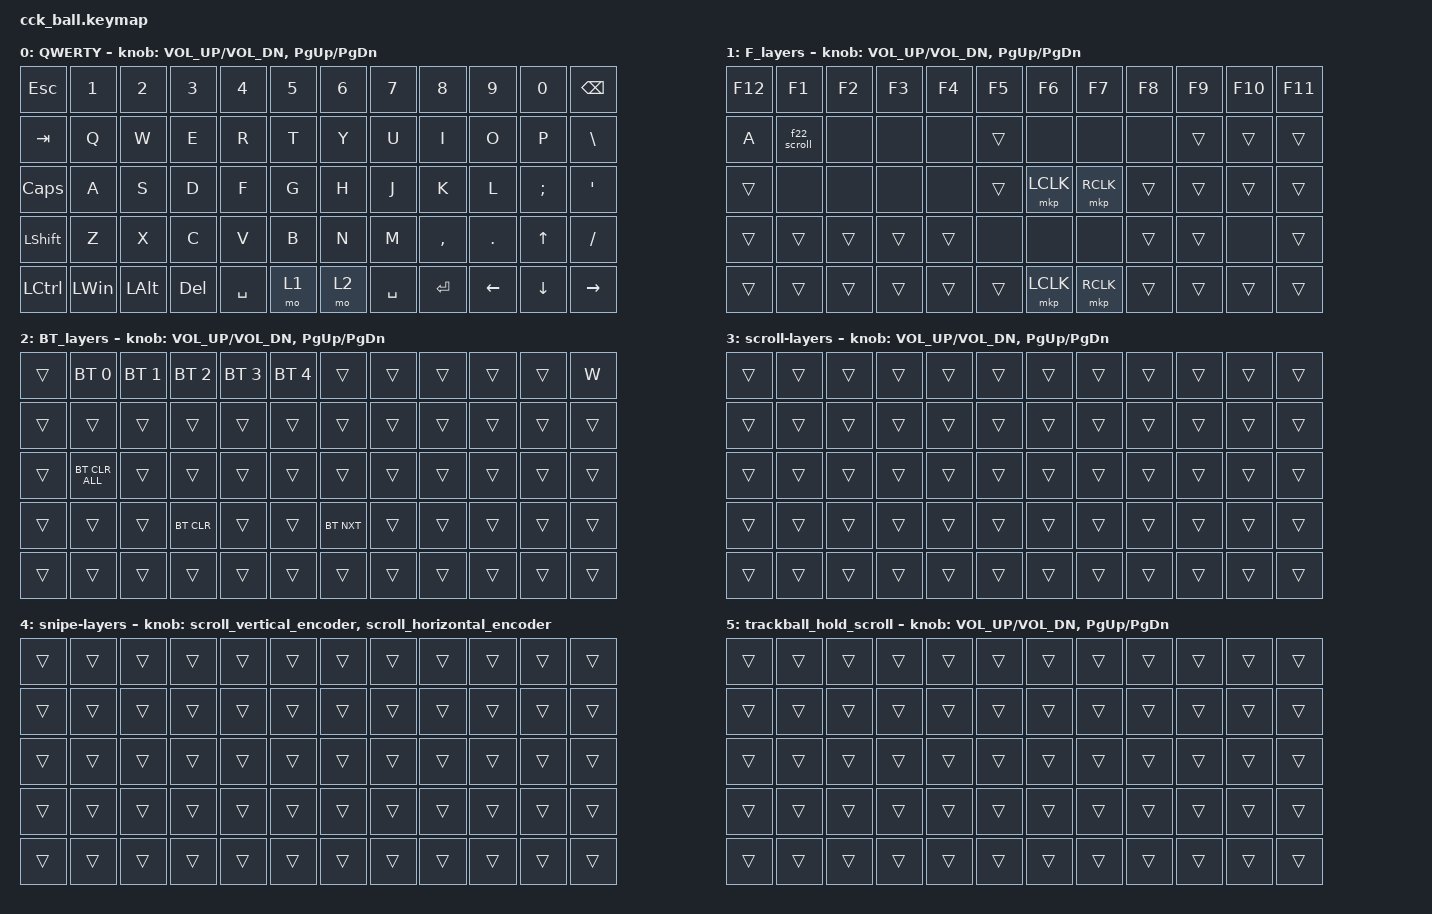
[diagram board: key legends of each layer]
#define ZMK_POINTING_DEFAULT_MOVE_VAL 1000 // 600
#define ZMK_POINTING_DEFAULT_SCRL_VAL 12   // 10

#include <input/processors.dtsi>
#include <zephyr/dt-bindings/input/input-event-codes.h>
#include <behaviors.dtsi>
#include <dt-bindings/zmk/bt.h>
#include <dt-bindings/zmk/keys.h>
#include <dt-bindings/zmk/pointing.h>

&mmv_input_listener { input-processors = <&zip_xy_scaler 2 1>; };

&msc_input_listener { input-processors = <&zip_scroll_scaler 2 1>; };

&msc {
    acceleration-exponent = <0>;      // 0
    time-to-max-speed-ms = <300>;       // 300
    delay-ms = <0>;                   // 0
};

&mmv {
    time-to-max-speed-ms = <500>;
    acceleration-exponent = <1>;
    trigger-period-ms = <16>;
};

&soft_off { hold-time-ms = <2000>; };

/ {
    // 上下滚动编码器行为
    scroll_vertical_encoder: scroll_vertical_encoder {
        compatible = "zmk,behavior-sensor-rotate";
        #sensor-binding-cells = <0>;
        bindings = <&msc SCRL_DOWN>, <&msc SCRL_UP>;
        tap-ms = <100>;
    };

    // 左右滚动编码器行为
    scroll_horizontal_encoder: scroll_horizontal_encoder {
        compatible = "zmk,behavior-sensor-rotate";
        #sensor-binding-cells = <0>;
        bindings = <&msc SCRL_LEFT>, <&msc SCRL_RIGHT>;
        tap-ms = <100>;
    };
    
    macros {
        f22_scroll: f22_scroll {
            compatible = "zmk,behavior-macro";
            #binding-cells = <0>;
            label = "F22 Scroll";
            wait-ms = <0>;
            bindings = <&macro_press &mo 5 &kp F22>,
                       <&macro_pause_for_release>,
                       <&macro_release &mo 5 &kp F22>;
        };
    };

    keymap {
        compatible = "zmk,keymap";

        QWERTY {
            bindings = <
&kp ESC           &kp N1        &kp N2        &kp N3      &kp N4     &kp N5  &kp N6  &kp N7     &kp N8     &kp N9          &kp N0          &kp BACKSPACE
&kp TAB           &kp Q         &kp W         &kp E       &kp R      &kp T   &kp Y   &kp U      &kp I      &kp O           &kp P           &kp BSLH
&kp CAPSLOCK      &kp A         &kp S         &kp D       &kp F      &kp G   &kp H   &kp J      &kp K      &kp L           &kp SEMI        &kp SQT
&kp LEFT_SHIFT    &kp Z         &kp X         &kp C       &kp V      &kp B   &kp N   &kp M      &kp COMMA  &kp DOT         &kp UP_ARROW    &kp FSLH
&kp LEFT_CONTROL  &kp LEFT_WIN  &kp LEFT_ALT  &kp DELETE  &kp SPACE  &mo 1   &mo 2   &kp SPACE  &kp ENTER  &kp LEFT_ARROW  &kp DOWN_ARROW  &kp RIGHT_ARROW
            >;

            sensor-bindings = <&inc_dec_kp C_VOL_UP C_VOL_DN &inc_dec_kp PG_UP PG_DN>;
        };

        F_layers {
            bindings = <
&kp F12  &kp F1  &kp F2  &kp F3  &kp F4  &kp F5  &kp F6     &kp F7     &kp F8  &kp F9  &kp F10  &kp F11
&kp A    &f22_scroll &none   &none   &none   &trans  &none      &none      &none   &trans  &trans   &trans
&trans   &none   &none   &none   &none   &trans  &mkp LCLK  &mkp RCLK  &trans  &trans  &trans   &trans
&trans   &trans  &trans  &trans  &trans  &none   &none      &none      &trans  &trans  &none    &trans
&trans   &trans  &trans  &trans  &trans  &trans  &mkp LCLK  &mkp RCLK  &trans  &trans  &trans   &trans
            >;

            sensor-bindings = <&inc_dec_kp C_VOL_UP C_VOL_DN &inc_dec_kp PG_UP PG_DN>;
        };

        BT_layers {
            bindings = <
&trans  &bt BT_SEL 0    &bt BT_SEL 1  &bt BT_SEL 2  &bt BT_SEL 3  &bt BT_SEL 4  &trans      &trans  &trans  &trans  &trans  &kp W
&trans  &trans          &trans        &trans        &trans        &trans        &trans      &trans  &trans  &trans  &trans  &trans
&trans  &bt BT_CLR_ALL  &trans        &trans        &trans        &trans        &trans      &trans  &trans  &trans  &trans  &trans
&trans  &trans          &trans        &bt BT_CLR    &trans        &trans        &bt BT_NXT  &trans  &trans  &trans  &trans  &trans
&trans  &trans          &trans        &trans        &trans        &trans        &trans      &trans  &trans  &trans  &trans  &trans
            >;

            sensor-bindings = <&inc_dec_kp C_VOL_UP C_VOL_DN &inc_dec_kp PG_UP PG_DN>;
        };

        scroll-layers {
            bindings = <
&trans  &trans  &trans  &trans  &trans  &trans  &trans  &trans  &trans  &trans  &trans  &trans
&trans  &trans  &trans  &trans  &trans  &trans  &trans  &trans  &trans  &trans  &trans  &trans
&trans  &trans  &trans  &trans  &trans  &trans  &trans  &trans  &trans  &trans  &trans  &trans
&trans  &trans  &trans  &trans  &trans  &trans  &trans  &trans  &trans  &trans  &trans  &trans
&trans  &trans  &trans  &trans  &trans  &trans  &trans  &trans  &trans  &trans  &trans  &trans
            >;

            sensor-bindings = <&inc_dec_kp C_VOL_UP C_VOL_DN &inc_dec_kp PG_UP PG_DN>;
        };

        snipe-layers {
            bindings = <
&trans  &trans  &trans  &trans  &trans  &trans  &trans  &trans  &trans  &trans  &trans  &trans
&trans  &trans  &trans  &trans  &trans  &trans  &trans  &trans  &trans  &trans  &trans  &trans
&trans  &trans  &trans  &trans  &trans  &trans  &trans  &trans  &trans  &trans  &trans  &trans
&trans  &trans  &trans  &trans  &trans  &trans  &trans  &trans  &trans  &trans  &trans  &trans
&trans  &trans  &trans  &trans  &trans  &trans  &trans  &trans  &trans  &trans  &trans  &trans
            >;

            sensor-bindings = <&scroll_vertical_encoder>,   // 编码器1：上下滚动
                             <&scroll_horizontal_encoder>;  // 编码器2：左右滚动
        };

        trackball_hold_scroll {
            bindings = <
&trans  &trans  &trans  &trans  &trans  &trans  &trans  &trans  &trans  &trans  &trans  &trans
&trans  &trans  &trans  &trans  &trans  &trans  &trans  &trans  &trans  &trans  &trans  &trans
&trans  &trans  &trans  &trans  &trans  &trans  &trans  &trans  &trans  &trans  &trans  &trans
&trans  &trans  &trans  &trans  &trans  &trans  &trans  &trans  &trans  &trans  &trans  &trans
&trans  &trans  &trans  &trans  &trans  &trans  &trans  &trans  &trans  &trans  &trans  &trans
            >;

            sensor-bindings = <&inc_dec_kp C_VOL_UP C_VOL_DN &inc_dec_kp PG_UP PG_DN>;
        };
    };
};
